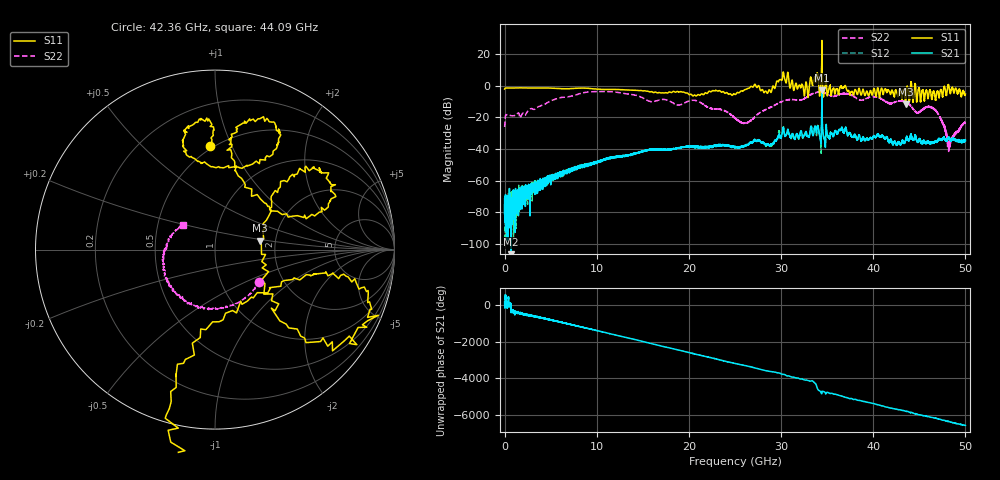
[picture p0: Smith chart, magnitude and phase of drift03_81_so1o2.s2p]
!Created with skrf (http://scikit-rf.org).
# Hz S RI R 50.0
!freq ReS11 ImS11 ReS21 ImS21 ReS12 ImS12 ReS22 ImS22
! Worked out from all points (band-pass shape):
!   10000 points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, 5.3 MHz to 50 GHz, reference 50 ohm
!   highest |S21| = -2.85 dB at 34.43 GHz (marker M1); lowest = -108.2 dB at 715.3 MHz (marker M2)
!   |S21| within 3 dB of the highest: 34.42754 GHz to 34.43531 GHz (7.771 MHz wide, 0.0226 % of centre)
!   lowest |S11| = -11.8 dB at 43.51 GHz (marker M3), VSWR 1.69, Z = 83.1 + j8.75 ohm
!   |S11| at or under -10 dB: 43.48272 GHz to 43.54429 GHz (61.56 MHz wide, 0.141 % of centre); 43.54752 GHz to 43.55127 GHz (3.754 MHz wide, 0.00862 % of centre); 44.30406 GHz to 44.3084 GHz (4.342 MHz wide, 0.0098 % of centre) (the widest 3 of 9)
!   |S22| runs from -41.5 to -3.6 dB; largest |S21 - S12| = 0.22
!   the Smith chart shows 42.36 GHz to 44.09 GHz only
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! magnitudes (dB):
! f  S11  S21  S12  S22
! 5.3 MHz  -2.1  -75.4  -72.5  -26.1
! 715.3 MHz  -1.4  -108.2  -69.5  -18.9
! 4.115 GHz  -1.4  -64.0  -59.5  -12.2
! 8.34 GHz  -1.5  -50.9  -50.8  -4.7
! 16.67 GHz  -4.4  -40.1  -40.2  -9.2
! 20.76 GHz  -6.4  -38.2  -39.1  -9.3
! 25.01 GHz  -5.5  -38.7  -38.8  -20.6
! 26.22 GHz  -2.2  -37.5  -37.7  -23.4
! 27.37 GHz  -1.1  -35.0  -34.8  -18.5
! 28.72 GHz  -2.5  -37.6  -37.6  -14.0
! 30.14 GHz  4.4  -29.4  -29.8  -9.9
! 32.74 GHz  2.0  -29.5  -29.2  -7.3
! 33.34 GHz  2.6  -27.5  -27.7  -5.2
! 33.82 GHz  4.0  -29.1  -29.5  -4.2
! 34.43 GHz  28.6  -2.8  -4.8  -3.9
! 36.49 GHz  -0.3  -27.9  -27.9  -5.3
! 41.67 GHz  -2.8  -35.4  -35.5  -10.7
! 43.51 GHz  -11.8  -34.6  -34.5  -10.3
! 44.73 GHz  -10.1  -34.4  -34.6  -16.8
! 46.68 GHz  -5.8  -35.4  -35.2  -15.0
! 48.25 GHz  -1.3  -33.3  -33.1  -37.7
! 50 GHz  -5.3  -34.1  -35.4  -23.2
